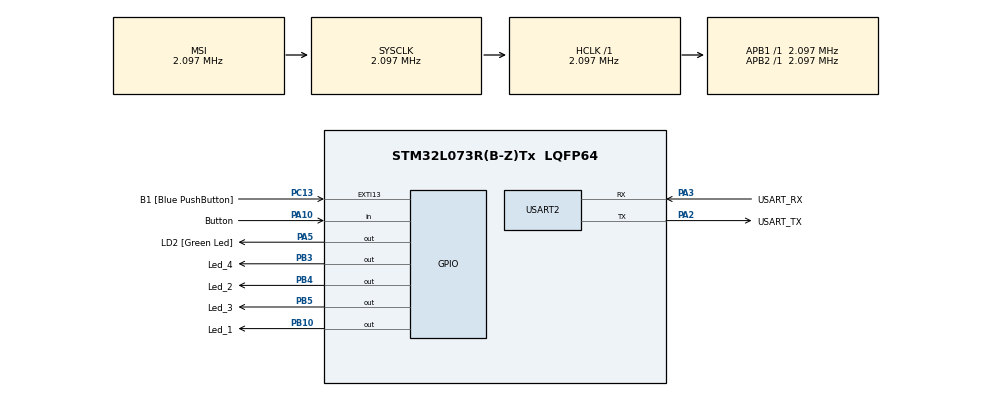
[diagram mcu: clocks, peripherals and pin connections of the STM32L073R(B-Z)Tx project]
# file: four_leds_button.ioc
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Mcu.Family=STM32L0
Mcu.Name=STM32L073R(B-Z)Tx
Mcu.Package=LQFP64
PA10.GPIO_Label=Button
PA10.Signal=GPIO_Input
PA13.GPIO_Label=TMS
PA13.Mode=Serial_Wire
PA13.Signal=SYS_SWDIO
PA14.GPIO_Label=TCK
PA14.Mode=Serial_Wire
PA14.Signal=SYS_SWCLK
PA2.GPIO_Label=USART_TX
PA2.Mode=Asynchronous
PA2.Signal=USART2_TX
PA3.GPIO_Label=USART_RX
PA3.Mode=Asynchronous
PA3.Signal=USART2_RX
PA5.GPIO_Label=LD2 [Green Led]
PA5.Signal=GPIO_Output
PB10.GPIO_Label=Led_1
PB10.Signal=GPIO_Output
PB3.GPIO_Label=Led_4
PB3.Signal=GPIO_Output
PB4.GPIO_Label=Led_2
PB4.Signal=GPIO_Output
PB5.GPIO_Label=Led_3
PB5.Signal=GPIO_Output
PC13.GPIO_Label=B1 [Blue PushButton]
PC13.GPIO_ModeDefaultEXTI=GPIO_MODE_IT_FALLING
PC13.Signal=GPXTI13
PC14-OSC32_IN.Mode=LSE-External-Oscillator
PC14-OSC32_IN.Signal=RCC_OSC32_IN
PC15-OSC32_OUT.Mode=LSE-External-Oscillator
PC15-OSC32_OUT.Signal=RCC_OSC32_OUT
PH0-OSC_IN.GPIO_Label=MCO
PH0-OSC_IN.Mode=HSE-External-Clock-Source
PH0-OSC_IN.Signal=RCC_OSC_IN
ProjectManager.HeapSize=0x200
ProjectManager.StackSize=0x400
ProjectManager.TargetToolchain=STM32CubeIDE
RCC.AHBFreq_Value=2097000
RCC.APB1Freq_Value=2097000
RCC.APB1TimFreq_Value=2097000
RCC.APB2Freq_Value=2097000
RCC.APB2TimFreq_Value=2097000
RCC.HSE_VALUE=8000000
RCC.HSI16_VALUE=16000000
RCC.HSI48_VALUE=48000000
RCC.HSI_VALUE=16000000
RCC.MSI_VALUE=2097000
RCC.SYSCLKFreq_VALUE=2097000
RCC.VCOOutputFreq_Value=48000000
USART2.VirtualMode-Asynchronous=VM_ASYNC
board=NUCLEO-L073RZ

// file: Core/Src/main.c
/* USER CODE BEGIN Header */
/**
  ******************************************************************************
  * @file           : main.c
  * @brief          : Main program body
  ******************************************************************************
  * @attention
  *
  * Copyright (c) 2022 STMicroelectronics.
  * All rights reserved.
  *
  * This software is licensed under terms that can be found in the LICENSE file
  * in the root directory of this software component.
  * If no LICENSE file comes with this software, it is provided AS-IS.
  *
  ******************************************************************************
  */
/* USER CODE END Header */
#include "main.h"

 UART_HandleTypeDef huart2;

void SystemClock_Config(void);
static void MX_GPIO_Init(void);
static void MX_USART2_UART_Init(void);
/* USER CODE BEGIN PFP */
void Blink_Five_Leds(void);
void Invert_Blink_Five_Leds(void);
/* USER CODE END PFP */

int main(void)
{

  /* MCU Configuration--------------------------------------------------------*/

  /* Reset of all peripherals, Initializes the Flash interface and the Systick. */
  HAL_Init();

  /* Configure the system clock */
  SystemClock_Config();

  /* Initialize all configured peripherals */
  MX_GPIO_Init();
  MX_USART2_UART_Init();

  /* Infinite loop */
  /* USER CODE BEGIN WHILE */
  while (1)
  {
	  if(HAL_GPIO_ReadPin(GPIOA, Button_Pin))
	  {
	     Invert_Blink_Five_Leds();
	  }
	  else
	  {
	      Blink_Five_Leds();
	  }
  }
    /* USER CODE END WHILE */
}

void SystemClock_Config(void)
{
  RCC_OscInitTypeDef RCC_OscInitStruct = {0};
  RCC_ClkInitTypeDef RCC_ClkInitStruct = {0};
  RCC_PeriphCLKInitTypeDef PeriphClkInit = {0};

  /** Configure the main internal regulator output voltage
  */
  __HAL_PWR_VOLTAGESCALING_CONFIG(PWR_REGULATOR_VOLTAGE_SCALE1);

  /** Initializes the RCC Oscillators according to the specified parameters
  * in the RCC_OscInitTypeDef structure.
  */
  RCC_OscInitStruct.OscillatorType = RCC_OSCILLATORTYPE_MSI;
  RCC_OscInitStruct.MSIState = RCC_MSI_ON;
  RCC_OscInitStruct.MSICalibrationValue = 0;
  RCC_OscInitStruct.MSIClockRange = RCC_MSIRANGE_5;
  RCC_OscInitStruct.PLL.PLLState = RCC_PLL_NONE;
  if (HAL_RCC_OscConfig(&RCC_OscInitStruct) != HAL_OK)
  {
    Error_Handler();
  }

  /** Initializes the CPU, AHB and APB buses clocks
  */
  RCC_ClkInitStruct.ClockType = RCC_CLOCKTYPE_HCLK|RCC_CLOCKTYPE_SYSCLK
                              |RCC_CLOCKTYPE_PCLK1|RCC_CLOCKTYPE_PCLK2;
  RCC_ClkInitStruct.SYSCLKSource = RCC_SYSCLKSOURCE_MSI;
  RCC_ClkInitStruct.AHBCLKDivider = RCC_SYSCLK_DIV1;
  RCC_ClkInitStruct.APB1CLKDivider = RCC_HCLK_DIV1;
  RCC_ClkInitStruct.APB2CLKDivider = RCC_HCLK_DIV1;

  if (HAL_RCC_ClockConfig(&RCC_ClkInitStruct, FLASH_LATENCY_0) != HAL_OK)
  {
    Error_Handler();
  }
  PeriphClkInit.PeriphClockSelection = RCC_PERIPHCLK_USART2;
  PeriphClkInit.Usart2ClockSelection = RCC_USART2CLKSOURCE_PCLK1;
  if (HAL_RCCEx_PeriphCLKConfig(&PeriphClkInit) != HAL_OK)
  {
    Error_Handler();
  }
}

static void MX_USART2_UART_Init(void)
{

  huart2.Instance = USART2;
  huart2.Init.BaudRate = 115200;
  huart2.Init.WordLength = UART_WORDLENGTH_8B;
  huart2.Init.StopBits = UART_STOPBITS_1;
  huart2.Init.Parity = UART_PARITY_NONE;
  huart2.Init.Mode = UART_MODE_TX_RX;
  huart2.Init.HwFlowCtl = UART_HWCONTROL_NONE;
  huart2.Init.OverSampling = UART_OVERSAMPLING_16;
  huart2.Init.OneBitSampling = UART_ONE_BIT_SAMPLE_DISABLE;
  huart2.AdvancedInit.AdvFeatureInit = UART_ADVFEATURE_NO_INIT;
  if (HAL_UART_Init(&huart2) != HAL_OK)
  {
    Error_Handler();
  }

}

static void MX_GPIO_Init(void)
{
  GPIO_InitTypeDef GPIO_InitStruct = {0};

  /* GPIO Ports Clock Enable */
  __HAL_RCC_GPIOC_CLK_ENABLE();
  __HAL_RCC_GPIOH_CLK_ENABLE();
  __HAL_RCC_GPIOA_CLK_ENABLE();
  __HAL_RCC_GPIOB_CLK_ENABLE();

  /*Configure GPIO pin Output Level */
  HAL_GPIO_WritePin(LD2_GPIO_Port, LD2_Pin, GPIO_PIN_RESET);

  /*Configure GPIO pin Output Level */
  HAL_GPIO_WritePin(GPIOB, Led_1_Pin|Led_4_Pin|Led_2_Pin|Led_3_Pin, GPIO_PIN_RESET);

  /*Configure GPIO pin : B1_Pin */
  GPIO_InitStruct.Pin = B1_Pin;
  GPIO_InitStruct.Mode = GPIO_MODE_IT_FALLING;
  GPIO_InitStruct.Pull = GPIO_NOPULL;
  HAL_GPIO_Init(B1_GPIO_Port, &GPIO_InitStruct);

  /*Configure GPIO pin : LD2_Pin */
  GPIO_InitStruct.Pin = LD2_Pin;
  GPIO_InitStruct.Mode = GPIO_MODE_OUTPUT_PP;
  GPIO_InitStruct.Pull = GPIO_NOPULL;
  GPIO_InitStruct.Speed = GPIO_SPEED_FREQ_LOW;
  HAL_GPIO_Init(LD2_GPIO_Port, &GPIO_InitStruct);

  /*Configure GPIO pins : Led_1_Pin Led_4_Pin Led_2_Pin Led_3_Pin */
  GPIO_InitStruct.Pin = Led_1_Pin|Led_4_Pin|Led_2_Pin|Led_3_Pin;
  GPIO_InitStruct.Mode = GPIO_MODE_OUTPUT_PP;
  GPIO_InitStruct.Pull = GPIO_NOPULL;
  GPIO_InitStruct.Speed = GPIO_SPEED_FREQ_LOW;
  HAL_GPIO_Init(GPIOB, &GPIO_InitStruct);

  /*Configure GPIO pin : Button_Pin */
  GPIO_InitStruct.Pin = Button_Pin;
  GPIO_InitStruct.Mode = GPIO_MODE_INPUT;
  GPIO_InitStruct.Pull = GPIO_PULLDOWN;
  HAL_GPIO_Init(Button_GPIO_Port, &GPIO_InitStruct);

}

/* USER CODE BEGIN 4 */
void Blink_Five_Leds(void)
{
	uint32_t DELAY_TIME = 1000;

	while(DELAY_TIME >= 400){
		HAL_GPIO_TogglePin(GPIOA, LD2_Pin);
		HAL_Delay(DELAY_TIME);
		HAL_GPIO_TogglePin(GPIOA, Led_1_Pin);
		HAL_Delay(DELAY_TIME);
		HAL_GPIO_TogglePin(GPIOB, Led_3_Pin);
		HAL_Delay(DELAY_TIME);
		HAL_GPIO_TogglePin(GPIOB, Led_2_Pin);
		HAL_Delay(DELAY_TIME);
		HAL_GPIO_TogglePin(GPIOB, Led_4_Pin);
		HAL_Delay(DELAY_TIME);
		DELAY_TIME -= 50;
	}

	if(DELAY_TIME == 400){
		DELAY_TIME = 1000;
	}
}

void Invert_Blink_Five_Leds(void)
{
	uint32_t DELAY_TIME = 700;

	while(DELAY_TIME >= 400){
		HAL_GPIO_TogglePin(GPIOA, Led_1_Pin);
		HAL_GPIO_TogglePin(GPIOA, LD2_Pin);
		HAL_Delay(DELAY_TIME);
		HAL_GPIO_TogglePin(GPIOB, Led_3_Pin);
		HAL_GPIO_TogglePin(GPIOB, Led_4_Pin);
		HAL_Delay(DELAY_TIME);
		HAL_GPIO_TogglePin(GPIOA, LD2_Pin);
		HAL_GPIO_TogglePin(GPIOB, Led_2_Pin);
		HAL_Delay(DELAY_TIME);
		HAL_GPIO_TogglePin(GPIOB, Led_4_Pin);
		HAL_GPIO_TogglePin(GPIOA, Led_1_Pin);
		HAL_Delay(DELAY_TIME);
		HAL_GPIO_TogglePin(GPIOB, Led_2_Pin);
		HAL_GPIO_TogglePin(GPIOB, Led_3_Pin);
		HAL_Delay(DELAY_TIME);
	}

}
/* USER CODE END 4 */

void Error_Handler(void)
{
  __disable_irq();
  while (1)
  {
  }
}
